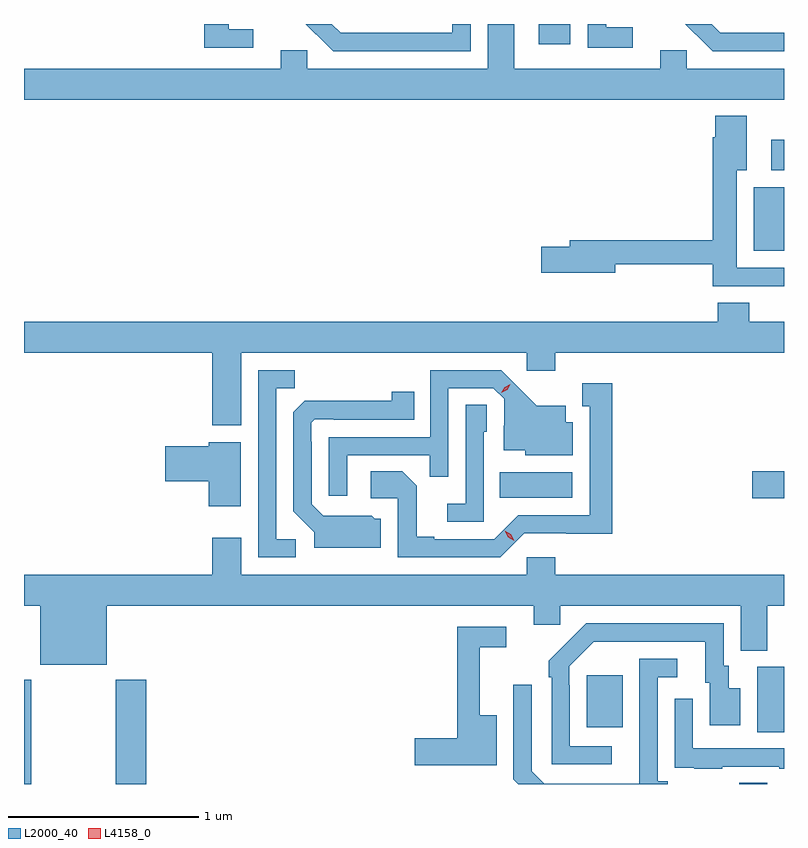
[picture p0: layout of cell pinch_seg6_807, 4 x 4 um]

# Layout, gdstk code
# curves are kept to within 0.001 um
import gdstk
lib = gdstk.Library(unit=1e-6, precision=1e-09)
def R(c, l, rs):  # rectangles x0, y0, x1, y1
    for r in rs: c.add(gdstk.rectangle(r[:2], r[2:], *l))
def P(c, l, *ps):  # polygons
    for p in ps: c.add(gdstk.Polygon(p, *l))
L2000_40 = (2000, 40)
L4158_0 = (4158, 0)

pinch_seg6_807 = lib.new_cell('pinch_seg6_807')
R(pinch_seg6_807, L2000_40, [(145.519,978.367,145.557,978.916), (146.002,978.367,146.162,978.916), (149.284,978.367,149.431,978.374), (149.378,978.64,149.519,978.984), (148.481,978.665,148.669,978.94), (149.352,979.87,149.519,980.012), (148.024,979.874,148.405,980.008), (149.36,981.173,149.519,981.508), (149.451,981.597,149.519,981.757)])
P(pinch_seg6_807, L2000_40, [(149.519,982.132),(149.007,982.132),(149.007,982.23),(148.868,982.23),(148.868,982.132),(148.099,982.132),(148.099,982.367),(147.959,982.367),(147.959,982.132),(147.009,982.132),(147.009,982.23),(146.87,982.23),(146.87,982.132),(145.519,982.132),(145.519,981.968),(149.519,981.968)],
  [(148.395,982.367),(148.299,982.367),(148.299,982.365),(148.227,982.365),(148.227,982.26),(148.395,982.26)],
  [(148.723,982.351),(148.583,982.351),(148.583,982.367),(148.485,982.367),(148.485,982.242),(148.723,982.242)],
  [(146.725,982.339),(146.596,982.339),(146.596,982.367),(146.467,982.367),(146.467,982.242),(146.725,982.242)],
  [(149.519,982.32),(149.287,982.32),(149.287,982.321),(149.184,982.321),(149.138,982.367),(148.999,982.367),(149.052,982.314),(149.053,982.315),(149.144,982.224),(149.519,982.224)],
  [(147.87,982.367),(147.773,982.367),(147.773,982.32),(147.289,982.32),(147.289,982.321),(147.186,982.321),(147.14,982.367),(147.001,982.367),(147.054,982.314),(147.055,982.315),(147.146,982.224),(147.87,982.224)],
  [(149.519,981.084),(149.269,981.084),(149.269,981.596),(149.323,981.596),(149.323,981.883),(149.156,981.883),(149.156,981.77),(149.144,981.77),(149.144,981.23),(148.391,981.23),(148.391,981.194),(148.242,981.194),(148.242,981.059),(148.63,981.059),(148.63,981.102),(149.144,981.102),(149.144,980.987),(149.519,980.987)],
  [(146.662,980.636),(148.164,980.636),(148.164,980.541),(148.316,980.541),(148.316,980.636),(149.519,980.636),(149.519,980.8),(149.336,980.8),(149.336,980.899),(149.171,980.899),(149.171,980.8),(145.519,980.8),(145.519,980.636),(146.51,980.636),(146.51,980.256),(146.662,980.256)],
  [(146.95,979.656),(146.847,979.656),(146.847,980.449),(146.943,980.449),(146.943,980.544),(146.751,980.544),(146.751,979.56),(146.95,979.56)],
  [(147.219,980.097),(147.655,980.097),(147.655,979.984),(147.753,979.984),(147.753,980.451),(147.99,980.451),(148.047,980.394),(148.047,980.252),(148.043,980.252),(148.043,980.123),(148.158,980.123),(148.158,980.096),(148.408,980.096),(148.408,980.272),(148.369,980.272),(148.369,980.359),(148.217,980.359),(148.03,980.544),(147.657,980.544),(147.657,980.193),(147.123,980.193),(147.123,979.884),(147.219,979.884)],
  [(148.152,979.686),(148.615,979.685),(148.615,980.476),(148.457,980.476),(148.457,980.355),(148.496,980.355),(148.496,979.782),(148.119,979.782),(147.993,979.656),(147.679,979.656),(147.679,979.669),(147.585,979.669),(147.585,979.936),(147.509,980.012),(147.345,980.012),(147.345,979.872),(147.486,979.872),(147.486,979.56),(148.026,979.56)],
  [(147.397,979.764),(147.366,979.764),(147.35,979.78),(147.093,979.779),(147.033,979.839),(147.033,980.168),(147.03,980.168),(147.03,980.268),(147.048,980.286),(147.148,980.286),(147.148,980.283),(147.572,980.283),(147.572,980.431),(147.454,980.431),(147.454,980.384),(146.996,980.383),(146.937,980.324),(146.937,979.802),(147.047,979.692),(147.047,979.61),(147.397,979.61)],
  [(147.939,980.22),(147.954,980.22),(147.954,980.363),(147.843,980.363),(147.843,979.843),(147.747,979.843),(147.747,979.746),(147.939,979.746)],
  [(146.659,980.167),(146.492,980.167),(146.492,980.144),(146.262,980.144),(146.262,979.961),(146.492,979.961),(146.492,979.83),(146.659,979.83)],
  [(145.954,979.304),(148.202,979.304),(148.202,979.206),(148.341,979.206),(148.341,979.304),(149.291,979.304),(149.291,979.069),(149.431,979.069),(149.431,979.304),(149.519,979.304),(149.519,979.468),(148.316,979.468),(148.316,979.561),(148.164,979.561),(148.164,979.468),(146.662,979.468),(146.662,979.663),(146.51,979.663),(146.51,979.468),(145.519,979.468),(145.519,979.304),(145.604,979.304),(145.604,978.995),(145.954,978.995)],
  [(148.612,978.567),(148.392,978.567),(148.392,978.887),(148.389,978.887),(148.389,978.987),(148.518,979.116),(149.105,979.116),(149.105,978.9),(149.129,978.9),(149.129,978.675),(149.29,978.675),(149.29,978.871),(149.227,978.871),(149.227,978.99),(149.202,978.99),(149.202,979.212),(148.478,979.212),(148.281,979.017),(148.281,978.929),(148.296,978.929),(148.296,978.471),(148.612,978.471)],
  [(148.006,978.73),(147.917,978.73),(147.917,979.086),(148.057,979.086),(148.057,979.194),(147.799,979.194),(147.799,978.608),(147.576,978.608),(147.576,978.466),(148.006,978.466)],
  [(148.906,978.382),(148.854,978.382),(148.854,978.93),(148.957,978.93),(148.957,979.026),(148.758,979.026),(148.757,978.369),(148.257,978.369),(148.191,978.435),(148.191,978.889),(148.095,978.889),(148.095,978.393),(148.121,978.367),(148.906,978.367)],
  [(149.195,978.459),(149.495,978.459),(149.495,978.447),(149.519,978.447),(149.519,978.555),(149.04,978.555),(149.04,978.817),(148.944,978.817),(148.944,978.562),(148.945,978.562),(148.945,978.453),(149.047,978.453),(149.047,978.447),(149.195,978.447)])
P(pinch_seg6_807, L4158_0, [(148.099,979.648),(148.068,979.667),(148.05,979.699),(148.05,979.7),(148.05,979.7),(148.082,979.681),(148.1,979.648),(148.1,979.648)],
  [(148.031,980.426),(148.031,980.426),(148.048,980.456),(148.078,980.472),(148.079,980.472),(148.079,980.472),(148.062,980.442),(148.031,980.426)])

lib.write_gds('pinch_seg6_807.gds')
